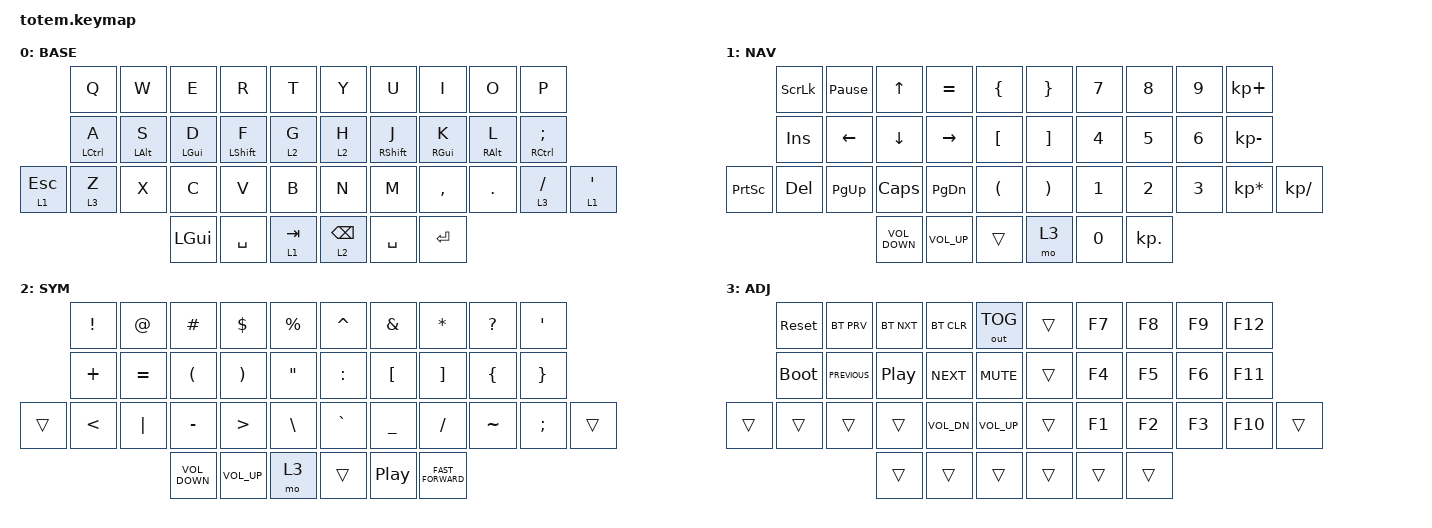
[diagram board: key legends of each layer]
//
//                                                        ▀▀▀▀▀     ▀▀▀▀▀          ▀▀█▀▀
//                                                        ▄▀▀▀▄  ▄  ▄▀▀▀▄  ▄  ▄▀▀▀▄  █  ▄▀▀▀▄
//                                                        █   █  █  █   █  █  █   █  █  █   █
//                                                         ▀▀▀   █   ▀▀▀   █   ▀▀▀   ▀   ▀▀▀
//                                                               █      ▄▄▄█▄▄▄    █   █  
//                                                               ▀      █  █  █     █▄█
//                                                             ▀▀▀▀▀    █  █  █      ▀
//                                                                      ▀  ▀  ▀
//
// ▄▄▄▄▄▄▄▄▄▄▄▄▄▄▄▄▄▄▄▄▄▄▄▄▄▄▄▄▄▄▄▄▄▄▄▄▄▄▄▄▄▄▄▄▄▄▄▄▄▄▄▄▄▄▄▄▄▄▄▄▄▄▄▄▄▄▄▄▄▄▄▄▄▄▄▄▄▄▄▄▄▄▄▄▄▄▄▄▄▄▄▄▄▄▄▄▄▄▄▄▄▄▄▄▄▄▄▄▄▄▄▄▄▄▄▄▄▄▄▄▄▄▄▄▄▄▄▄▄▄▄▄▄▄▄▄▄▄▄▄▄▄▄▄▄▄▄▄▄

#include <behaviors.dtsi>
#include <dt-bindings/zmk/bt.h>
#include <dt-bindings/zmk/keys.h>
#include <dt-bindings/zmk/outputs.h>

#define BASE 0
#define NAV  1
#define SYM  2
#define ADJ  3
#define TVP1 4
#define TVP2 5

&mt {
    quick-tap-ms = <100>;
    global-quick-tap;
    flavor = "tap-preferred";
    tapping-term-ms = <170>;
};

/ {
    combos {
        compatible = "zmk,combos";

        combo_esc {
            timeout-ms = <50>;
            key-positions = <0 1>;
            bindings = <&kp ESC>;
        };
    };

    keymap {
        compatible = "zmk,keymap";

        // ▄▄▄▄▄▄▄▄▄▄▄▄▄▄▄▄▄▄▄▄▄▄▄▄▄▄▄▄▄▄▄▄▄▄▄▄▄▄▄▄▄▄▄▄▄▄▄▄▄▄▄▄▄▄▄▄▄▄▄▄▄▄▄▄▄▄▄▄▄▄▄▄▄▄▄▄▄▄▄▄▄▄▄▄▄▄▄▄▄▄▄▄▄▄▄▄▄▄▄▄▄▄▄▄▄▄▄▄▄▄▄▄▄▄▄▄▄▄▄▄▄▄▄▄▄▄▄▄▄▄▄▄▄▄▄▄▄▄▄▄▄▄▄▄▄▄▄▄▄

        base_layer {
            // ┏━━━━━━━━━━━━━━━━━━━━━━━━━━━━━━━━━━━━━━━┓

            label = "BASE";

            // ┗━━━━━━━━━━━━━━━━━━━━━━━━━━━━━━━━━━━━━━━┛
            //             ┏━━━━━━━━━━━┳━━━━━━━━━━━┳━━━━━━━━━━━┳━━━━━━━━━━━┳━━━━━━━━━━━┓   ┏━━━━━━━━━━━┳━━━━━━━━━━━┳━━━━━━━━━━━┳━━━━━━━━━━━┳━━━━━━━━━━━┓
            //             ┃     Q     ┃     W     ┃     F     ┃     P     ┃     G     ┃   ┃     J     ┃     L     ┃     U     ┃     Y     ┃     ;     ┃
            //             ┣━━━━━━━━━━━╋━━━━━━━━━━━╋━━━━━━━━━━━╋━━━━━━━━━━━╋━━━━━━━━━━━┫   ┣━━━━━━━━━━━╋━━━━━━━━━━━╋━━━━━━━━━━━╋━━━━━━━━━━━╋━━━━━━━━━━━┫
            //             ┃     A     ┃     R     ┃     S     ┃     T     ┃     D     ┃   ┃     H     ┃     N     ┃     E     ┃     I     ┃     O     ┃
            // ┏━━━━━━━━━━━╋━━━━━━━━━━━╋━━━━━━━━━━━╋━━━━━━━━━━━╋━━━━━━━━━━━╋━━━━━━━━━━━┫   ┣━━━━━━━━━━━╋━━━━━━━━━━━╋━━━━━━━━━━━╋━━━━━━━━━━━╋━━━━━━━━━━━╋━━━━━━━━━━━┓
            // ┃     Q     ┃     Z     ┃     X     ┃     C     ┃     V     ┃     B     ┃   ┃     K     ┃     M     ┃     ,     ┃     .     ┃     /     ┃     \     ┃
            // ┗━━━━━━━━━━━┻━━━━━━━━━━━┻━━━━━━━━━━━╋━━━━━━━━━━━╋━━━━━━━━━━━╋━━━━━━━━━━━┫   ┣━━━━━━━━━━━╋━━━━━━━━━━━╋━━━━━━━━━━━╋━━━━━━━━━━━┻━━━━━━━━━━━┻━━━━━━━━━━━┛
            //                                     ┃    DEL    ┃    TAB    ┃    SPC    ┃   ┃   ENTER   ┃           ┃   BSPC    ┃
            //                                     ┗━━━━━━━━━━━┻━━━━━━━━━━━┻━━━━━━━━━━━┛   ┗━━━━━━━━━━━┻━━━━━━━━━━━┻━━━━━━━━━━━┛

            bindings = <
           &kp Q        &kp W       &kp E       &kp R        &kp T        &kp Y            &kp U        &kp I       &kp O       &kp P
           &mt LCTRL A  &mt LALT S  &mt LGUI D  &mt LSHFT F  &lt 2 G      &lt 2 H          &mt RSHFT J  &mt RGUI K  &mt RALT L  &mt RCTRL SEMI
&lt 1 ESC  &lt 3 Z      &kp X       &kp C       &kp V        &kp B        &kp N            &kp M        &kp COMMA   &kp DOT     &lt 3 FSLH      &lt 1 SQT
                                    &kp LGUI    &kp SPACE    &lt 1 TAB    &lt 2 BACKSPACE  &kp SPACE    &kp ENTER
            >;
        };

        // ▄▄▄▄▄▄▄▄▄▄▄▄▄▄▄▄▄▄▄▄▄▄▄▄▄▄▄▄▄▄▄▄▄▄▄▄▄▄▄▄▄▄▄▄▄▄▄▄▄▄▄▄▄▄▄▄▄▄▄▄▄▄▄▄▄▄▄▄▄▄▄▄▄▄▄▄▄▄▄▄▄▄▄▄▄▄▄▄▄▄▄▄▄▄▄▄▄▄▄▄▄▄▄▄▄▄▄▄▄▄▄▄▄▄▄▄▄▄▄▄▄▄▄▄▄▄▄▄▄▄▄▄▄▄▄▄▄▄▄▄▄▄▄▄▄▄▄▄▄

        nav_layer {
            // ┏━━━━━━━━━━━━━━━━━━━━━━━━━━━━━━━━━━━━━━━┓

            label = "NAV";

            // ┗━━━━━━━━━━━━━━━━━━━━━━━━━━━━━━━━━━━━━━━┛
            //             ┏━━━━━━━━━━━┳━━━━━━━━━━━┳━━━━━━━━━━━┳━━━━━━━━━━━┳━━━━━━━━━━━┓   ┏━━━━━━━━━━━┳━━━━━━━━━━━┳━━━━━━━━━━━┳━━━━━━━━━━━┳━━━━━━━━━━━┓
            //             ┃           ┃           ┃     UP    ┃           ┃     {     ┃   ┃     }     ┃     7     ┃     8     ┃     9     ┃     +     ┃
            //             ┣━━━━━━━━━━━╋━━━━━━━━━━━╋━━━━━━━━━━━╋━━━━━━━━━━━╋━━━━━━━━━━━┫   ┣━━━━━━━━━━━╋━━━━━━━━━━━╋━━━━━━━━━━━╋━━━━━━━━━━━╋━━━━━━━━━━━┫
            //             ┃   SHIFT   ┃   LEFT    ┃    DOWN   ┃   RIGHT   ┃     [     ┃   ┃     ]     ┃     4     ┃     5     ┃     6     ┃     -     ┃
            // ┏━━━━━━━━━━━╋━━━━━━━━━━━╋━━━━━━━━━━━╋━━━━━━━━━━━╋━━━━━━━━━━━╋━━━━━━━━━━━┫   ┣━━━━━━━━━━━╋━━━━━━━━━━━╋━━━━━━━━━━━╋━━━━━━━━━━━╋━━━━━━━━━━━╋━━━━━━━━━━━┓
            // ┃           ┃           ┃   P UP    ┃  C LOCK   ┃  P DOWN   ┃     (     ┃   ┃     )     ┃     1     ┃     2     ┃     3     ┃     *     ┃           ┃
            // ┗━━━━━━━━━━━┻━━━━━━━━━━━┻━━━━━━━━━━━╋━━━━━━━━━━━╋━━━━━━━━━━━╋━━━━━━━━━━━┫   ┣━━━━━━━━━━━╋━━━━━━━━━━━╋━━━━━━━━━━━╋━━━━━━━━━━━┻━━━━━━━━━━━┻━━━━━━━━━━━┛
            //                                     ┃           ┃    TAB    ┃    SPC    ┃   ┃    DEL    ┃     0     ┃           ┃
            //                                     ┗━━━━━━━━━━━┻━━━━━━━━━━━┻━━━━━━━━━━━┛   ┗━━━━━━━━━━━┻━━━━━━━━━━━┻━━━━━━━━━━━┛

            bindings = <
                 &kp SCROLLLOCK  &kp PAUSE_BREAK  &kp UP             &kp EQUAL        &kp LBRC    &kp RBRC  &kp N7  &kp N8      &kp N9  &kp KP_PLUS
                 &kp INSERT      &kp LEFT         &kp DOWN           &kp RIGHT        &kp LBKT    &kp RBKT  &kp N4  &kp N5      &kp N6  &kp KP_MINUS
&kp PRINTSCREEN  &kp DEL         &kp PG_UP        &kp CAPS           &kp PG_DN        &kp LPAR    &kp RPAR  &kp N1  &kp N2      &kp N3  &kp KP_MULTIPLY  &kp KP_DIVIDE
                                                  &kp C_VOLUME_DOWN  &kp C_VOLUME_UP  &trans      &mo 3     &kp N0  &kp KP_DOT
            >;
        };

        // ▄▄▄▄▄▄▄▄▄▄▄▄▄▄▄▄▄▄▄▄▄▄▄▄▄▄▄▄▄▄▄▄▄▄▄▄▄▄▄▄▄▄▄▄▄▄▄▄▄▄▄▄▄▄▄▄▄▄▄▄▄▄▄▄▄▄▄▄▄▄▄▄▄▄▄▄▄▄▄▄▄▄▄▄▄▄▄▄▄▄▄▄▄▄▄▄▄▄▄▄▄▄▄▄▄▄▄▄▄▄▄▄▄▄▄▄▄▄▄▄▄▄▄▄▄▄▄▄▄▄▄▄▄▄▄▄▄▄▄▄▄▄▄▄▄▄▄▄▄

        sim_layer {
            // ┏━━━━━━━━━━━━━━━━━━━━━━━━━━━━━━━━━━━━━━━┓

            label = "SYM";

            // ┗━━━━━━━━━━━━━━━━━━━━━━━━━━━━━━━━━━━━━━━┛
            //             ┏━━━━━━━━━━━┳━━━━━━━━━━━┳━━━━━━━━━━━┳━━━━━━━━━━━┳━━━━━━━━━━━┓   ┏━━━━━━━━━━━┳━━━━━━━━━━━┳━━━━━━━━━━━┳━━━━━━━━━━━┳━━━━━━━━━━━┓
            //             ┃     !     ┃     @     ┃     #     ┃     $     ┃     %     ┃   ┃     ˆ     ┃     &     ┃     Ü     ┃     '     ┃     "     ┃
            //             ┣━━━━━━━━━━━╋━━━━━━━━━━━╋━━━━━━━━━━━╋━━━━━━━━━━━╋━━━━━━━━━━━┫   ┣━━━━━━━━━━━╋━━━━━━━━━━━╋━━━━━━━━━━━╋━━━━━━━━━━━╋━━━━━━━━━━━┫
            //             ┃     Ä     ┃           ┃    SZ     ┃           ┃           ┃   ┃   MUTE    ┃   YEN     ┃   EURO    ┃  POUND    ┃     Ö     ┃
            // ┏━━━━━━━━━━━╋━━━━━━━━━━━╋━━━━━━━━━━━╋━━━━━━━━━━━╋━━━━━━━━━━━╋━━━━━━━━━━━┫   ┣━━━━━━━━━━━╋━━━━━━━━━━━╋━━━━━━━━━━━╋━━━━━━━━━━━╋━━━━━━━━━━━╋━━━━━━━━━━━┓
            // ┃           ┃  EMAIL1   ┃  EMAIL2   ┃           ┃           ┃           ┃   ┃   VOL-    ┃   VOL+    ┃   LAST    ┃   NEXT    ┃     \     ┃           ┃
            // ┗━━━━━━━━━━━┻━━━━━━━━━━━┻━━━━━━━━━━━╋━━━━━━━━━━━╋━━━━━━━━━━━╋━━━━━━━━━━━┫   ┣━━━━━━━━━━━╋━━━━━━━━━━━╋━━━━━━━━━━━╋━━━━━━━━━━━┻━━━━━━━━━━━┻━━━━━━━━━━━┛
            //                                     ┃           ┃    GIF    ┃    ADJ    ┃   ┃           ┃           ┃           ┃
            //                                     ┗━━━━━━━━━━━┻━━━━━━━━━━━┻━━━━━━━━━━━┛   ┗━━━━━━━━━━━┻━━━━━━━━━━━┻━━━━━━━━━━━┛

            bindings = <
        &kp EXCL       &kp AT     &kp HASH              &kp DLLR               &kp PRCNT        &kp CARET  &kp AMPS          &kp STAR            &kp QUESTION    &kp SINGLE_QUOTE
        &kp PLUS       &kp EQUAL  &kp LEFT_PARENTHESIS  &kp RIGHT_PARENTHESIS  &kp DQT          &kp COLON  &kp LEFT_BRACKET  &kp RIGHT_BRACKET   &kp LEFT_BRACE  &kp RIGHT_BRACE
&trans  &kp LESS_THAN  &kp PIPE   &kp MINUS             &kp GREATER_THAN       &kp BACKSLASH    &kp GRAVE  &kp UNDERSCORE    &kp SLASH           &kp TILDE       &kp SEMICOLON     &trans
                                  &kp C_VOLUME_DOWN     &kp C_VOLUME_UP        &mo 3            &trans     &kp C_PLAY_PAUSE  &kp C_FAST_FORWARD
            >;
        };

        // ▄▄▄▄▄▄▄▄▄▄▄▄▄▄▄▄▄▄▄▄▄▄▄▄▄▄▄▄▄▄▄▄▄▄▄▄▄▄▄▄▄▄▄▄▄▄▄▄▄▄▄▄▄▄▄▄▄▄▄▄▄▄▄▄▄▄▄▄▄▄▄▄▄▄▄▄▄▄▄▄▄▄▄▄▄▄▄▄▄▄▄▄▄▄▄▄▄▄▄▄▄▄▄▄▄▄▄▄▄▄▄▄▄▄▄▄▄▄▄▄▄▄▄▄▄▄▄▄▄▄▄▄▄▄▄▄▄▄▄▄▄▄▄▄▄▄▄▄▄

        adjust_layer {
            // ┏━━━━━━━━━━━━━━━━━━━━━━━━━━━━━━━━━━━━━━━┓

            label = "ADJ";

            // ┗━━━━━━━━━━━━━━━━━━━━━━━━━━━━━━━━━━━━━━━┛
            //             ┏━━━━━━━━━━━┳━━━━━━━━━━━┳━━━━━━━━━━━┳━━━━━━━━━━━┳━━━━━━━━━━━┓   ┏━━━━━━━━━━━┳━━━━━━━━━━━┳━━━━━━━━━━━┳━━━━━━━━━━━┳━━━━━━━━━━━┓
            //             ┃   RESET   ┃ BT CLEAR  ┃  OUT TOG  ┃           ┃           ┃   ┃           ┃    F7     ┃    F8     ┃    F9     ┃    F12    ┃
            //             ┣━━━━━━━━━━━╋━━━━━━━━━━━╋━━━━━━━━━━━╋━━━━━━━━━━━╋━━━━━━━━━━━┫   ┣━━━━━━━━━━━╋━━━━━━━━━━━╋━━━━━━━━━━━╋━━━━━━━━━━━╋━━━━━━━━━━━┫
            //             ┃ BOOTLOAD  ┃ BT NEXT   ┃           ┃           ┃           ┃   ┃           ┃    F4     ┃    F5     ┃    F6     ┃    F11    ┃
            // ┏━━━━━━━━━━━╋━━━━━━━━━━━╋━━━━━━━━━━━╋━━━━━━━━━━━╋━━━━━━━━━━━╋━━━━━━━━━━━┫   ┣━━━━━━━━━━━╋━━━━━━━━━━━╋━━━━━━━━━━━╋━━━━━━━━━━━╋━━━━━━━━━━━╋━━━━━━━━━━━┓
            // ┃           ┃           ┃ BT PREV   ┃           ┃           ┃           ┃   ┃           ┃    F1     ┃    F2     ┃    F3     ┃    F10    ┃           ┃
            // ┗━━━━━━━━━━━┻━━━━━━━━━━━┻━━━━━━━━━━━╋━━━━━━━━━━━╋━━━━━━━━━━━╋━━━━━━━━━━━┫   ┣━━━━━━━━━━━╋━━━━━━━━━━━╋━━━━━━━━━━━╋━━━━━━━━━━━┻━━━━━━━━━━━┻━━━━━━━━━━━┛
            //                                     ┃           ┃           ┃           ┃   ┃           ┃           ┃           ┃
            //                                     ┗━━━━━━━━━━━┻━━━━━━━━━━━┻━━━━━━━━━━━┛   ┗━━━━━━━━━━━┻━━━━━━━━━━━┻━━━━━━━━━━━┛

            bindings = <
        &sys_reset   &bt BT_PRV      &bt BT_NXT        &bt BT_CLR    &out OUT_TOG    &trans  &kp F7  &kp F8  &kp F9  &kp F12
        &bootloader  &kp C_PREVIOUS  &kp C_PLAY_PAUSE  &kp C_NEXT    &kp C_MUTE      &trans  &kp F4  &kp F5  &kp F6  &kp F11
&trans  &trans       &trans          &trans            &kp C_VOL_DN  &kp C_VOL_UP    &trans  &kp F1  &kp F2  &kp F3  &kp F10  &trans
                                     &trans            &trans        &trans          &trans  &trans  &trans
            >;
        };

        // ▄▄▄▄▄▄▄▄▄▄▄▄▄▄▄▄▄▄▄▄▄▄▄▄▄▄▄▄▄▄▄▄▄▄▄▄▄▄▄▄▄▄▄▄▄▄▄▄▄▄▄▄▄▄▄▄▄▄▄▄▄▄▄▄▄▄▄▄▄▄▄▄▄▄▄▄▄▄▄▄▄▄▄▄▄▄▄▄▄▄▄▄▄▄▄▄▄▄▄▄▄▄▄▄▄▄▄▄▄▄▄▄▄▄▄▄▄▄▄▄▄▄▄▄▄▄▄▄▄▄▄▄▄▄▄▄▄▄▄▄▄▄▄▄▄▄▄▄▄
        // ▄▄▄▄▄▄▄▄▄▄▄▄▄▄▄▄▄▄▄▄▄▄▄▄▄▄▄▄▄▄▄▄▄▄▄▄▄▄▄▄▄▄▄▄▄▄▄▄▄▄▄▄▄▄▄▄▄▄▄▄▄▄▄▄▄▄▄▄▄▄▄▄▄▄▄▄▄▄▄▄▄▄▄▄▄▄▄▄▄▄▄▄▄▄▄▄▄▄▄▄▄▄▄▄▄▄▄▄▄▄▄▄▄▄▄▄▄▄▄▄▄▄▄▄▄▄▄▄▄▄▄▄▄▄▄▄▄▄▄▄▄▄▄▄▄▄▄▄▄
    };
};
